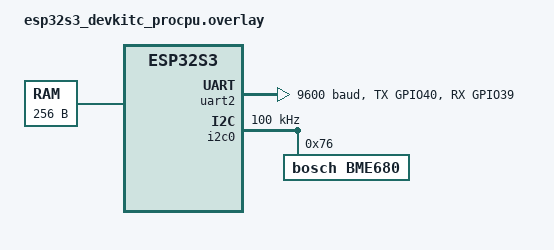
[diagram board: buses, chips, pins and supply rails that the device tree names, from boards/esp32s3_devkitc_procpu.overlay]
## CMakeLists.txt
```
cmake_minimum_required(VERSION 3.20.0)

find_package(Python3 COMPONENTS Interpreter REQUIRED)

# Generate src/autogen-code/settings_lorawan.{c,h,_list.h} from
# config/settings_lorawan.yaml at every configure -- see
# scripts/README.md. Never edit src/autogen-code/* by hand; edit the
# YAML instead and rebuild (builds are pristine by convention, see
# build.sh's -p always, so this reliably reruns).
#
# Deliberately NOT using the README's --aggregate pass or compiling
# rpc_settings_lorawan.c: that machinery (RPC dispatch by module name,
# a rpc_helpers.h JSON param parser) is for a multi-module,
# RPC-connected app -- this sample has exactly one settings module and
# no RPC layer, so pulling that in would be unused complexity. The
# generator still writes rpc_settings_lorawan.{c,h} to disk; they're
# simply never added to target_sources() below.
execute_process(
    COMMAND ${Python3_EXECUTABLE} ${CMAKE_CURRENT_SOURCE_DIR}/scripts/gen_settings_module.py
            --yaml ${CMAKE_CURRENT_SOURCE_DIR}/config/settings_lorawan.yaml
            --kconfig-dir ${CMAKE_CURRENT_SOURCE_DIR}/kconfig
            --force
    RESULT_VARIABLE gen_res
)
if(NOT gen_res EQUAL 0)
    message(FATAL_ERROR "Failed to generate settings_lorawan")
endif()

find_package(Zephyr REQUIRED HINTS $ENV{ZEPHYR_BASE})
project(lora_e5_device_node)

target_include_directories(app PRIVATE src/autogen-code)

target_sources(app PRIVATE
    src/main.c
    src/autogen-code/settings_lorawan.c
)
```

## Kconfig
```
# Copyright (c) 2026
# SPDX-License-Identifier: Apache-2.0

mainmenu "LoRa-E5 device_node sample"

config DEVICE_NODE_WAKEUP_TIME_SEC
	int "Deep sleep interval between wake/join/send cycles (seconds)"
	default 60
	help
	  Each wake reboots into main(), runs the init/config/join/send
	  sequence (lora_e5_resume_sync(), see docs/Device_State_Machine.md's
	  "Architecture" section), then re-arms an RTC timer for this many
	  seconds and powers off again.

# Generated by scripts/gen_settings_module.py from
# config/settings_lorawan.yaml (see CMakeLists.txt) -- defines
# NVS_SETTINGS_LORAWAN_SHELL, the per-module shell-command toggle.
rsource "kconfig/Kconfig.settings_lorawan"

source "Kconfig.zephyr"
```

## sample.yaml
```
sample:
  name: LoRa-E5 duty-cycled device node sample
  description: >
    Wake from ESP32 deep sleep on a timer, join, send a test uplink through
    the full lora_e5 library stack, then re-arm the timer and power off.
    See docs/Device_State_Machine.md for the architecture this implements.
tests:
  sample.lora_e5.device_node:
    # Requires real LoRa-E5-HF hardware wired to UART2 and OTAA
    # credentials filled in (src/main.c) -- build-only in CI/twister.
    build_only: true
    platform_allow: esp32s3_devkitc/esp32s3/procpu
    tags: lora_e5
```

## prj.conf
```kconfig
CONFIG_LORA_E5=y
CONFIG_SERIAL=y
CONFIG_UART_INTERRUPT_DRIVEN=y
CONFIG_GPIO=y
CONFIG_LOG=y

# Deep sleep -- see docs/Device_State_Machine.md's "Architecture" section
# and external/zephyr/samples/boards/espressif/deep_sleep, which this
# sample's sleep/wake/retained-mem handling is modeled on.
CONFIG_PM=y
CONFIG_PM_DEVICE=y
CONFIG_POWEROFF=y
CONFIG_RETAINED_MEM=y

# Workaround: this Zephyr tree's soc/espressif/common/power.c (built
# whenever CONFIG_PM=y) does LOG_MODULE_DECLARE(soc, ...) but no
# espressif SoC file provides the matching LOG_MODULE_REGISTER(soc,
# ...) -- with CONFIG_LOG=y (needed for our own and lora_e5's logging)
# this is an undefined-reference link failure (`log_const_soc`),
# reproduced even on the unmodified upstream
# samples/boards/espressif/deep_sleep with CONFIG_LOG=y added. Forcing
# this module's own log level off avoids emitting the dangling
# reference without touching vendored Zephyr/HAL sources.
CONFIG_SOC_LOG_LEVEL_OFF=y

# NVS-backed persistent settings for OTAA/ABP credentials + region
# (config/settings_lorawan.yaml, generated by scripts/gen_settings_module.py
# -- see scripts/README.md). Uses esp32s3_devkitc's existing "storage"
# devicetree partition automatically (Zephyr's settings_nvs backend
# falls back to a partition literally labeled storage_partition when no
# zephyr,settings-partition chosen node is set -- confirmed present in
# espressif/partitions_0x0_amp_4M.dtsi, no board overlay change needed).
# CONFIG_FLASH=y and CONFIG_FLASH_MAP=y are required too, undocumented
# by the trio above but confirmed by an actual build: CONFIG_NVS
# depends on FLASH + FLASH_PAGE_LAYOUT, and CONFIG_SETTINGS_NVS
# separately depends on FLASH_MAP -- none of which any other symbol
# here pulls in on its own. Without both, Kconfig silently drops the
# NVS backend choice back to SETTINGS_NONE (a dependency warning, not
# a hard build error) and settings_load()/settings_save_one() end up
# with nothing actually persisting.
CONFIG_FLASH=y
CONFIG_FLASH_MAP=y
CONFIG_NVS=y
CONFIG_SETTINGS=y
CONFIG_SETTINGS_NVS=y

# Confirmed needed on real hardware: settings_subsys_init() failed with
# -EDEADLK ("all sectors closed, this is not a nvs fs or irreparably
# corrupted", subsys/kvss/nvs/nvs.c) on this board's first-ever use of
# the "storage" partition -- its flash contents predate this sample and
# aren't a blank/erased NVS filesystem. This is Zephyr's own sanctioned
# self-heal for exactly that case (auto-erases and creates a fresh NVS
# instead of failing) rather than a one-off manual flash-erase
# workaround, so it also protects any future device whose flash isn't
# blank at first flash.
CONFIG_NVS_INIT_BAD_MEMORY_REGION=y

# Onboard WS2812 RGB status LED (modules/status_led) -- GPIO38 via SPI3,
# see boards/status_led_rgb.overlay (passed as an EXTRA_DTC_OVERLAY_FILE
# by build.sh) and status_led's own README for the backend/devicetree
# contract.
CONFIG_STATUS_LED=y
CONFIG_STATUS_LED_BACKEND_WS2812=y

# BME680 environmental sensor (temp/pressure/humidity/gas resistance),
# I2C0 -- see boards/esp32s3_devkitc_procpu.overlay for wiring/address
# notes. CONFIG_BME680 would auto-enable from the devicetree node alone
# (its Kconfig is `default y` + `depends on DT_HAS_BOSCH_BME680_ENABLED`,
# which also auto-selects CONFIG_I2C) -- set explicitly anyway, same
# reasoning as the NVS symbols above: this project has already hit
# silent Kconfig auto-selection surprises once this session
# (CONFIG_FLASH/CONFIG_FLASH_MAP), not worth relying on implicit
# behavior a second time.
CONFIG_I2C=y
CONFIG_SENSOR=y
CONFIG_BME680=y
```

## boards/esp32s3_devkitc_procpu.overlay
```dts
/*
 * Enables &uart2 for the LoRa-E5-HF, wired TX=GPIO40/RX=GPIO39 -- same
 * wiring and rationale as samples/join's overlay (see that file's doc
 * comment for the DMA/Async-API-vs-Interrupt-Driven history). Kept in
 * sync manually since sample overlays aren't shared between samples.
 *
 * Also carves out a small retained-memory region from rtc_slow_ram so a
 * boot/wake counter can survive ESP32 deep sleep -- copied from
 * external/zephyr/samples/boards/espressif/deep_sleep's own
 * esp32s3_devkitc_procpu.overlay (that sample demonstrates exactly this
 * board + CONFIG_RETAINED_MEM combination). See
 * docs/Device_State_Machine.md's "Architecture" section point 5 for why
 * this specific base address/size is safe on this SoC.
 */

#include <zephyr/dt-bindings/i2c/i2c.h>

&uart2 {
	status = "okay";
	current-speed = <9600>;
	pinctrl-0 = <&uart2_default>;
	pinctrl-names = "default";
};

&pinctrl {
	uart2_default: uart2_default {
		group1 {
			pinmux = <UART2_TX_GPIO40>;
			output-high;
		};

		group2 {
			pinmux = <UART2_RX_GPIO39>;
			bias-pull-up;
		};
	};
};

/ {
	aliases {
		retainedmemdevice = &retainedmem0;
	};

	memory@50001f00 {
		compatible = "zephyr,memory-region", "mmio-sram";
		reg = <0x50001f00 0x100>;
		zephyr,memory-region = "RTC_SLOW_RAM_RETAINED_MEM";
		status = "okay";

		retainedmem0: retainedmem {
			compatible = "zephyr,retained-ram";
			status = "okay";
		};
	};
};

&rtc_slow_ram {
	/* Shrink rtc_slow_ram size to avoid overlap with retained memory
	 * region: 8KB - 256 = 0x1f00 (same carve-out as the reference
	 * deep_sleep sample).
	 */
	reg = <0x50000000 0x1f00>;
};

/*
 * BME680 environmental sensor (temp/pressure/humidity/gas), I2C0 via the
 * board's own default i2c0_default pinctrl (GPIO1=SDA, GPIO2=SCL,
 * esp32s3_devkitc-pinctrl.dtsi -- not redefined here, already exists at
 * the board level). [Guessing, not yet verified against real hardware
 * -- no BME680 was connected during this project's other hardware
 * bring-up sessions]: I2C address 0x76 assumes the sensor's SDO pin is
 * tied low (grounded) -- the common default for breakout boards that
 * don't break SDO out separately. If your board pulls SDO high instead,
 * change reg below to 0x77. See docs/VERIFICATION_NEEDED.md.
 */
&i2c0 {
	status = "okay";
	clock-frequency = <I2C_BITRATE_STANDARD>;
	pinctrl-0 = <&i2c0_default>;
	pinctrl-names = "default";

	bme680: bme680@76 {
		compatible = "bosch,bme680";
		reg = <0x76>;
	};
};
```

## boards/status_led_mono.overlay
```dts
/*
 * Monochrome status LED wiring (LTE build): the onboard LED at GPIO38
 * driven as a plain on/off GPIO via CONFIG_STATUS_LED_BACKEND_MONO_GPIO.
 *
 * Same physical pad as boards/status_led_rgb.overlay's WS2812 wiring --
 * these two overlays are mutually exclusive per build variant, never
 * combined in the same DTC_OVERLAY_FILE list.
 */

/ {
	aliases {
		mono-led = &status_mono_led;
	};

	status_led_mono {
		compatible = "gpio-leds";

		status_mono_led: led_0 {
			/* GPIO 38 = gpio1 pin 6 (38 - 32 = 6) */
			gpios = <&gpio1 6 GPIO_ACTIVE_HIGH>;
			label = "Status LED (mono)";
		};
	};
};
```

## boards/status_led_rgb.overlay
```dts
/*
 * RGB status LED wiring (WiFi build): the onboard WS2812 addressable RGB
 * LED at GPIO38, driven over SPI3 (MOSI-only) via
 * CONFIG_STATUS_LED_BACKEND_WS2812.
 *
 * Same physical pad as boards/status_led_mono.overlay's plain-GPIO wiring --
 * these two overlays are mutually exclusive per build variant, never
 * combined in the same DTC_OVERLAY_FILE list.
 */

#include <zephyr/dt-bindings/led/led.h>
#include <zephyr/dt-bindings/led/worldsemi_ws2812c.h>

/ {
	aliases {
		led-strip = &status_rgb_led;
	};
};

&pinctrl {
	spim3_status_led: spim3_status_led {
		group1 {
			/* GPIO38 = gpio1 pin 6: the onboard WS2812 RGB LED data line. */
			pinmux = <SPIM3_MOSI_GPIO38>;
			output-low;
		};
	};
};

&spi3 {
	#address-cells = <1>;
	#size-cells = <0>;
	status = "okay";
	line-idle-low;
	pinctrl-0 = <&spim3_status_led>;
	pinctrl-names = "default";

	status_rgb_led: ws2812@0 {
		compatible = "worldsemi,ws2812-spi";
		reg = <0>;
		spi-max-frequency = <WS2812C_SPI_FREQ>;

		chain-length = <1>;
		/*
		 * RGB wire order (not the more common GRB) -- verified against
		 * observed hardware: GRB order rendered cyan as magenta (R/G
		 * swapped) on this board's WS2812.
		 */
		color-mapping = <LED_COLOR_ID_RED>,
				<LED_COLOR_ID_GREEN>,
				<LED_COLOR_ID_BLUE>;
		spi-one-frame = <WS2812C_ONE_FRAME>;
		spi-zero-frame = <WS2812C_ZERO_FRAME>;
	};
};
```

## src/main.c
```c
/**
 * @file samples/device_node/src/main.c
 * @brief Duty-cycled sensor-node pattern: wake (timer), join, send, sleep,
 * repeat -- through the full lora_e5 library stack against a real
 * LoRa-E5-HF module, wired to esp32s3_devkitc's UART2
 * (boards/esp32s3_devkitc_procpu.overlay).
 *
 * "Deep Sleep" here is real ESP32 MCU deep sleep (sys_poweroff()), not
 * lora_e5_sleep() -- waking is a full reboot back into main(), so this is
 * deliberately a linear per-wake sequence, not a persistent event loop.
 * See docs/Device_State_Machine.md's "Architecture" section for the full
 * rationale. Uses lora_e5_resume_sync(), not start_sync()+join_sync():
 * this board's LoRa-E5 stays continuously powered across the ESP32's
 * deep sleep, so most wakes reach JOINED in tens of milliseconds via
 * the modem's own retained session instead of a full ~8s
 * RESET+CONFIG+JOIN sequence -- see docs/VERIFICATION_NEEDED.md's
 * "Resolved 2026-07-11" section for how this was confirmed and
 * lora_e5.h's lora_e5_resume_sync() doc comment for the API contract.
 *
 * OTAA credentials + region are NVS-backed (config/settings_lorawan.yaml,
 * scripts/gen_settings_module.py -- see scripts/README.md) instead of
 * compile-time constants: DEFAULT_OTAA_CFG below seeds the settings
 * store's in-RAM defaults on first boot (before settings_load() runs;
 * a saved NVS record for a given key overrides its default, an absent
 * one leaves the seeded default in place -- see load_provisioning()).
 * Only credentials/region/join_mode_otaa are wired here -- sub_band/
 * adr_enabled/data_rate/tx_power/confirmed_uplink/uplink_interval_sec
 * are commented out in the YAML because lora_e5.h has no public setter
 * for any of them yet (CLAUDE.md's "Known gaps" #2).
 *
 * Status is shown on the onboard WS2812 RGB LED (modules/status_led,
 * GPIO38/SPI3, boards/status_led_rgb.overlay) using a minimal, honest
 * subset of that library's network/MQTT-flavored state vocabulary --
 * device_node has no MQTT/OTA/provisioning, so only BOOTING /
 * CONNECTING_NETWORK / NETWORK_CONNECTED / HW_FAILURE / FATAL_ERROR are
 * used, not the full table. IMPORTANT: status_led_stop() (synchronous)
 * is called right before sys_poweroff(), not status_led_set_state() --
 * a WS2812 latches its last color on pure power and needs no refresh,
 * and GPIO38/SPI3 gets isolated (not actively driven low) during ESP32
 * deep sleep, so skipping the synchronous off would leave the LED lit
 * at whatever color for the entire sleep interval, silently defeating
 * the point of a duty-cycled battery node.
 *
 * The uplink payload carries real data: a BME680 (I2C0, GPIO1=SDA/
 * GPIO2=SCL, boards/esp32s3_devkitc_procpu.overlay) is read for
 * temperature/pressure/humidity/gas resistance right before sending.
 * [Guessing, unverified against real hardware -- no BME680 was
 * connected during this project's other bring-up sessions]: the
 * overlay assumes I2C address 0x76 (SDO grounded); see that file's
 * comment and docs/VERIFICATION_NEEDED.md if your board wires SDO
 * high instead. The sensor read degrading gracefully (payload falls
 * back to boot_count-only, 4 bytes, if the read fails) is deliberate,
 * not an oversight -- this sample's core LoRaWAN mission should not
 * block on a sensor that may not physically be present.
 */

#include <errno.h>
#include <stdlib.h>
#include <string.h>

#include <zephyr/kernel.h>
#include <zephyr/device.h>
#include <zephyr/logging/log.h>
#include <zephyr/logging/log_ctrl.h>
#include <zephyr/drivers/retained_mem.h>
#include <zephyr/drivers/sensor.h>
#include <zephyr/settings/settings.h>
#include <zephyr/sys/poweroff.h>
#include <esp_sleep.h>

#include <lora_e5/lora_e5.h>
#include <status_led/status_led.h>

#include "settings_lorawan.h"

LOG_MODULE_REGISTER(lora_e5_device_node, LOG_LEVEL_INF);

/**
 * Confirmed-working OTAA credentials (real join + real uplink observed
 * in ChirpStack, same as samples/join) -- used ONLY to seed the NVS
 * settings store's defaults on a device's very first boot (empty
 * flash). Once settings_save_one() has written a real record (e.g. via
 * the "lorawan dev_eui <hex>" shell command, CONFIG_NVS_SETTINGS_LORAWAN_SHELL=y),
 * that record wins on every subsequent boot -- see load_provisioning().
 * Replace these three with your own device's values before flashing a
 * fresh device, same as samples/join.
 */
static const struct lora_e5_otaa_config default_otaa_cfg = {
	.dev_eui = { .bytes = { 0x26, 0xC5, 0x18, 0xF8, 0xEF, 0x84, 0x0E, 0x5D } },
	.app_eui = { .bytes = { 0x78, 0x36, 0xFC, 0xAF, 0xA7, 0x3B, 0x3E, 0xD3 } },
	.app_key = { .bytes = { 0x5B, 0xD1, 0x95, 0x9C, 0x42, 0x57, 0xCD, 0x92, 0x15, 0x30, 0x53, 0xFD, 0x66, 0xDC, 0xF9, 0x59 } },
};
#define DEFAULT_REGION_NAME "IN865"

/* Retained-memory boot/wake counter -- survives deep sleep (see
 * read_and_bump_boot_count()), does not gate any join/config decision
 * (docs/Device_State_Machine.md point 6), and is always the first 4
 * bytes of this sample's uplink payload (see build_uplink_payload())
 * so a real device event in ChirpStack has an actual, verifiable value
 * in it instead of a fixed placeholder -- each successful uplink's
 * payload should read one higher than the last, sensor data or not.
 */
#define RETAINED_MEM_MAGIC 0x4C453544u /* "LE5D" */

/* ------------------------------------------------------------------- */
/* BME680 environmental sensor                                          */
/* ------------------------------------------------------------------- */

/** @brief Fixed-point environmental reading, ready to append to the
 *  uplink payload. `valid` is false (all other fields zero) if the
 *  sensor isn't present/ready or the read failed -- see
 *  read_environment(). */
struct env_reading {
	bool valid;
	int16_t temp_c_x100;    /* degrees C * 100, e.g. 2345 = 23.45C */
	uint16_t press_kpa_x10; /* kPa * 10, e.g. 1013 = 101.3 kPa */
	uint16_t humidity_x100; /* %RH * 100, e.g. 4567 = 45.67% */
	uint32_t gas_res_ohm;   /* ohms, driver's native resolution */
};

/** @brief Converts a Zephyr struct sensor_value (val1 + val2/1e6) to a
 *  fixed-point integer scaled by `scale`, e.g. scale=100 on 23.45
 *  (val1=23, val2=450000) yields 2345. Integer-only (no float/double
 *  pulled into the link) via an int64_t intermediate to avoid overflow
 *  across the multiply. */
static int32_t sensor_value_scaled(const struct sensor_value *v, int32_t scale)
{
	int64_t scaled = (int64_t)v->val1 * scale +
			  ((int64_t)v->val2 * scale) / 1000000;

	return (int32_t)scaled;
}

/** @brief Reads the BME680 (temp/press/humidity/gas resistance),
 *  returning a zeroed, `valid=false` reading (not an error code) on
 *  any failure -- see this file's doc comment for why a missing/failed
 *  sensor degrades the uplink payload rather than blocking it. */
static struct env_reading read_environment(void)
{
	struct env_reading env = { 0 };
	const struct device *dev = DEVICE_DT_GET(DT_NODELABEL(bme680));
	struct sensor_value temp, press, humidity, gas_res;

	if (!device_is_ready(dev)) {
		LOG_WRN("BME680 not ready -- uplink will omit sensor data");
		return env;
	}

	if (sensor_sample_fetch(dev) != 0) {
		LOG_WRN("BME680 sensor_sample_fetch failed -- uplink will omit sensor data");
		return env;
	}

	if (sensor_channel_get(dev, SENSOR_CHAN_AMBIENT_TEMP, &temp) != 0 ||
	    sensor_channel_get(dev, SENSOR_CHAN_PRESS, &press) != 0 ||
	    sensor_channel_get(dev, SENSOR_CHAN_HUMIDITY, &humidity) != 0 ||
	    sensor_channel_get(dev, SENSOR_CHAN_GAS_RES, &gas_res) != 0) {
		LOG_WRN("BME680 sensor_channel_get failed -- uplink will omit sensor data");
		return env;
	}

	env.valid = true;
	env.temp_c_x100 = (int16_t)sensor_value_scaled(&temp, 100);
	env.press_kpa_x10 = (uint16_t)sensor_value_scaled(&press, 10);
	env.humidity_x100 = (uint16_t)sensor_value_scaled(&humidity, 100);
	env.gas_res_ohm = (uint32_t)gas_res.val1;

	LOG_INF("BME680: temp=%d.%02dC press=%d.%01dkPa humidity=%d.%02d%% gas_res=%uohm",
		env.temp_c_x100 / 100, abs(env.temp_c_x100 % 100), env.press_kpa_x10 / 10,
		env.press_kpa_x10 % 10, env.humidity_x100 / 100, env.humidity_x100 % 100,
		(unsigned)env.gas_res_ohm);

	return env;
}

/** @brief Builds the uplink payload into `out` (must be at least
 *  UPLINK_PAYLOAD_MAX_LEN bytes) and returns the number of bytes
 *  written: boot_count is always the first 4 bytes (big-endian); if
 *  `env->valid`, 10 more bytes (temp/press/humidity/gas_res, all
 *  big-endian) are appended, otherwise the payload is just the 4
 *  bytes. */
#define UPLINK_PAYLOAD_MAX_LEN 14

static size_t build_uplink_payload(uint32_t boot_count, const struct env_reading *env,
				    uint8_t out[UPLINK_PAYLOAD_MAX_LEN])
{
	out[0] = (uint8_t)(boot_count >> 24);
	out[1] = (uint8_t)(boot_count >> 16);
	out[2] = (uint8_t)(boot_count >> 8);
	out[3] = (uint8_t)(boot_count);

	if (!env->valid) {
		return 4;
	}

	out[4] = (uint8_t)((uint16_t)env->temp_c_x100 >> 8);
	out[5] = (uint8_t)((uint16_t)env->temp_c_x100);
	out[6] = (uint8_t)(env->press_kpa_x10 >> 8);
	out[7] = (uint8_t)(env->press_kpa_x10);
	out[8] = (uint8_t)(env->humidity_x100 >> 8);
	out[9] = (uint8_t)(env->humidity_x100);
	out[10] = (uint8_t)(env->gas_res_ohm >> 24);
	out[11] = (uint8_t)(env->gas_res_ohm >> 16);
	out[12] = (uint8_t)(env->gas_res_ohm >> 8);
	out[13] = (uint8_t)(env->gas_res_ohm);

	return UPLINK_PAYLOAD_MAX_LEN;
}

static void event_cb(const struct lora_e5_app_event *event, void *user_data)
{
	ARG_UNUSED(user_data);

	switch (event->type) {
	case LORA_E5_APP_EVT_JOIN_SUCCESS:
		LOG_INF("JOIN_SUCCESS devaddr=%02X%02X%02X%02X netid=%06X",
			event->join.dev_addr.bytes[0], event->join.dev_addr.bytes[1],
			event->join.dev_addr.bytes[2], event->join.dev_addr.bytes[3],
			event->join.net_id);
		break;
	case LORA_E5_APP_EVT_JOIN_FAILED:
		LOG_ERR("JOIN_FAILED outcome=%d", (int)event->join.outcome);
		break;
	case LORA_E5_APP_EVT_TX_SUCCESS:
		LOG_INF("TX_SUCCESS confirmed=%d", event->tx.confirmed);
		break;
	case LORA_E5_APP_EVT_TX_FAILED:
		LOG_ERR("TX_FAILED reason=%d", (int)event->tx.fail_reason);
		break;
	case LORA_E5_APP_EVT_DOWNLINK_RECEIVED:
		LOG_INF("DOWNLINK port=%u len=%u rssi=%d snr=%d", event->downlink.port,
			(unsigned)event->downlink.len, event->downlink.rssi_dbm,
			event->downlink.snr_db);
		break;
	case LORA_E5_APP_EVT_SLEEP_ENTERED:
		LOG_INF("SLEEP_ENTERED");
		break;
	case LORA_E5_APP_EVT_WAKE_COMPLETE:
		LOG_INF("WAKE_COMPLETE");
		break;
	case LORA_E5_APP_EVT_STATE_CHANGED:
		LOG_INF("STATE_CHANGED -> %d", (int)event->state_changed);
		break;
	case LORA_E5_APP_EVT_ERROR:
		LOG_ERR("ERROR errno=%d", event->error_errno);
		break;
	}
}

static esp_sleep_wakeup_cause_t get_wakeup_cause(void)
{
	uint32_t causes = esp_sleep_get_wakeup_causes();

	if (causes == 0) {
		return ESP_SLEEP_WAKEUP_UNDEFINED;
	}
	return (esp_sleep_wakeup_cause_t)__builtin_ctz(causes);
}

/** @brief Diagnostic wake counter, persisted across deep sleep. Resets to
 *  1 on a non-timer wake (power-on / reset), since that means the SoC
 *  didn't come from a sleep cycle this counter was tracking. */
static uint32_t read_and_bump_boot_count(esp_sleep_wakeup_cause_t cause)
{
	const struct device *dev = DEVICE_DT_GET(DT_ALIAS(retainedmemdevice));
	uint32_t magic = 0;
	uint32_t count = 0;

	if (!device_is_ready(dev)) {
		LOG_WRN("retained_mem device not ready -- boot count unavailable");
		return 0;
	}

	if (cause == ESP_SLEEP_WAKEUP_TIMER) {
		retained_mem_read(dev, 0, (uint8_t *)&magic, sizeof(magic));
		if (magic == RETAINED_MEM_MAGIC) {
			retained_mem_read(dev, sizeof(magic), (uint8_t *)&count, sizeof(count));
		}
	}

	count++;
	magic = RETAINED_MEM_MAGIC;
	retained_mem_write(dev, 0, (uint8_t *)&magic, sizeof(magic));
	retained_mem_write(dev, sizeof(magic), (uint8_t *)&count, sizeof(count));

	return count;
}

/* ------------------------------------------------------------------- */
/* NVS-backed provisioning (config/settings_lorawan.yaml)                */
/* ------------------------------------------------------------------- */

static int hex_nibble(char c)
{
	if (c >= '0' && c <= '9') {
		return c - '0';
	}
	if (c >= 'A' && c <= 'F') {
		return c - 'A' + 10;
	}
	if (c >= 'a' && c <= 'f') {
		return c - 'a' + 10;
	}
	return -1;
}

static void bytes_to_hex(const uint8_t *bytes, size_t len, char *out, size_t out_len)
{
	static const char digits[] = "0123456789ABCDEF";
	size_t n = MIN(len, (out_len - 1) / 2);

	for (size_t i = 0; i < n; i++) {
		out[i * 2] = digits[bytes[i] >> 4];
		out[i * 2 + 1] = digits[bytes[i] & 0x0F];
	}
	out[n * 2] = '\0';
}

static int hex_to_bytes(const char *hex, uint8_t *out, size_t out_len)
{
	if (hex == NULL || strlen(hex) != out_len * 2) {
		return -EINVAL;
	}
	for (size_t i = 0; i < out_len; i++) {
		int hi = hex_nibble(hex[i * 2]);
		int lo = hex_nibble(hex[i * 2 + 1]);

		if (hi < 0 || lo < 0) {
			return -EINVAL;
		}
		out[i] = (uint8_t)((hi << 4) | lo);
	}
	return 0;
}

static int parse_region(const char *name, enum lora_e5_region *out)
{
	static const struct {
		const char *name;
		enum lora_e5_region region;
	} table[] = {
		{ "EU868", LORA_E5_REGION_EU868 },
		{ "US915", LORA_E5_REGION_US915 },
		{ "US915HYBRID", LORA_E5_REGION_US915HYBRID },
		{ "CN779", LORA_E5_REGION_CN779 },
		{ "EU433", LORA_E5_REGION_EU433 },
		{ "AU915", LORA_E5_REGION_AU915 },
		{ "AU915OLD", LORA_E5_REGION_AU915OLD },
		{ "CN470", LORA_E5_REGION_CN470 },
		{ "AS923", LORA_E5_REGION_AS923 },
		{ "KR920", LORA_E5_REGION_KR920 },
		{ "IN865", LORA_E5_REGION_IN865 },
		{ "RU864", LORA_E5_REGION_RU864 },
	};

	if (name == NULL) {
		return -EINVAL;
	}
	for (size_t i = 0; i < ARRAY_SIZE(table); i++) {
		if (strcmp(name, table[i].name) == 0) {
			*out = table[i].region;
			return 0;
		}
	}
	return -EINVAL;
}

/** @brief Seeds lorawan_config's in-RAM defaults from default_otaa_cfg
 *  BEFORE settings_load() runs. A key with a saved NVS record has
 *  settings_load() overwrite this default; a key with no record (a
 *  device's first boot, or one that was factory-reset) keeps it --
 *  same pattern scripts/README.md documents for the template's
 *  "shared" module. Does not itself touch NVS (no settings_save_one()
 *  call) -- these are just this boot's in-RAM starting values.
 */
static void seed_default_provisioning(void)
{
	char hex[33];

	bytes_to_hex(default_otaa_cfg.dev_eui.bytes, sizeof(default_otaa_cfg.dev_eui.bytes),
		     hex, sizeof(hex));
	strncpy(lorawan_config.dev_eui, hex, sizeof(lorawan_config.dev_eui) - 1);

	bytes_to_hex(default_otaa_cfg.app_eui.bytes, sizeof(default_otaa_cfg.app_eui.bytes),
		     hex, sizeof(hex));
	strncpy(lorawan_config.join_eui, hex, sizeof(lorawan_config.join_eui) - 1);

	bytes_to_hex(default_otaa_cfg.app_key.bytes, sizeof(default_otaa_cfg.app_key.bytes),
		     hex, sizeof(hex));
	strncpy(lorawan_config.app_key, hex, sizeof(lorawan_config.app_key) - 1);

	strncpy(lorawan_config.region, DEFAULT_REGION_NAME, sizeof(lorawan_config.region) - 1);

	/* Not yet read/branched on anywhere -- device_node is OTAA-only
	 * today. Seeded so "lorawan show" reports a sensible value if the
	 * shell is enabled, and so it's ready to wire up if ABP support is
	 * ever added here.
	 */
	lorawan_config.join_mode_otaa = true;
}

/** @brief Brings up the NVS settings store and resolves this boot's
 *  OTAA credentials + region from it (falling back to
 *  default_otaa_cfg/DEFAULT_REGION_NAME wherever no NVS record exists
 *  yet -- see seed_default_provisioning()). Must run before
 *  lora_e5_set_otaa()/set_region(). */
static int load_provisioning(struct lora_e5_otaa_config *out_otaa, enum lora_e5_region *out_region)
{
	int rc;

	rc = settings_subsys_init();
	if (rc != 0) {
		return rc;
	}

	settings_lorawan_init();
	seed_default_provisioning();
	settings_load();

	rc = hex_to_bytes(get_nvs_lorawan_deveui_t_dev_eui(), out_otaa->dev_eui.bytes,
			   sizeof(out_otaa->dev_eui.bytes));
	if (rc != 0) {
		LOG_ERR("Invalid dev_eui in NVS settings (%d)", rc);
		return rc;
	}

	rc = hex_to_bytes(get_nvs_lorawan_joineui_t_join_eui(), out_otaa->app_eui.bytes,
			   sizeof(out_otaa->app_eui.bytes));
	if (rc != 0) {
		LOG_ERR("Invalid join_eui in NVS settings (%d)", rc);
		return rc;
	}

	rc = hex_to_bytes(get_nvs_lorawan_appkey_t_app_key(), out_otaa->app_key.bytes,
			   sizeof(out_otaa->app_key.bytes));
	if (rc != 0) {
		LOG_ERR("Invalid app_key in NVS settings (%d)", rc);
		return rc;
	}

	rc = parse_region(get_nvs_lorawan_region_t_region(), out_region);
	if (rc != 0) {
		LOG_ERR("Invalid region '%s' in NVS settings (%d)",
			get_nvs_lorawan_region_t_region(), rc);
		return rc;
	}

	return 0;
}

static void go_to_sleep(void)
{
	const int wakeup_time_sec = CONFIG_DEVICE_NODE_WAKEUP_TIME_SEC;

	LOG_INF("Arming %ds timer wakeup, powering off", wakeup_time_sec);

	/* sys_poweroff() is called directly (not through the PM subsystem's
	 * own idle-triggered suspend), so the wakeup source must be armed by
	 * the application first -- same requirement documented in
	 * external/zephyr/samples/boards/espressif/deep_sleep.
	 */
	esp_sleep_enable_timer_wakeup((uint64_t)wakeup_time_sec * 1000000);

	/* Without this, sys_poweroff() cuts power before Zephyr's deferred
	 * logging thread drains its queue -- confirmed on real hardware:
	 * the TX_SUCCESS/TX_FAILED event log and the "Send confirmed" line
	 * below were silently lost on every cycle without it. LOG_PANIC()
	 * flushes pending log messages and switches logging synchronous for
	 * whatever's left.
	 */
	LOG_PANIC();
	sys_poweroff();
}

int main(void)
{
	esp_sleep_wakeup_cause_t cause = get_wakeup_cause();
	uint32_t boot_count = read_and_bump_boot_count(cause);

	LOG_INF("Wake cause=%d boot_count=%u", (int)cause, boot_count);

	/* LED failure is not fatal to the LoRaWAN mission -- if it doesn't
	 * come up, log it once and skip every other status_led_*() call
	 * this boot rather than risk cascading a display-only failure into
	 * treating the whole wake as failed.
	 */
	bool led_ok = (status_led_init() == 0);

	if (!led_ok) {
		LOG_WRN("status_led_init failed -- continuing without LED status");
	}
	if (led_ok) {
		status_led_set_state(STATUS_LED_BOOTING);
	}

	struct lora_e5_otaa_config loaded_otaa;
	enum lora_e5_region loaded_region;
	int rc;

	rc = load_provisioning(&loaded_otaa, &loaded_region);
	if (rc != 0) {
		LOG_ERR("load_provisioning failed (%d)", rc);
		if (led_ok) {
			status_led_clear_state(STATUS_LED_BOOTING);
			status_led_set_state(STATUS_LED_FATAL_ERROR);
		}
		goto sleep;
	}

	const struct lora_e5_hw_config hw = {
		.uart_dev = DEVICE_DT_GET(DT_NODELABEL(uart2)),
		.reset_gpio = NULL, /* AT+RESET only -- no reset-gpios wired on this board */
	};

	rc = lora_e5_init(&hw);
	if (rc != 0) {
		LOG_ERR("lora_e5_init failed (%d)", rc);
		if (led_ok) {
			status_led_clear_state(STATUS_LED_BOOTING);
			status_led_set_state(STATUS_LED_HW_FAILURE);
		}
		goto sleep;
	}

	lora_e5_register_callback(event_cb, NULL);

	rc = lora_e5_set_otaa(&loaded_otaa);
	if (rc != 0) {
		LOG_ERR("lora_e5_set_otaa failed (%d)", rc);
		if (led_ok) {
			status_led_clear_state(STATUS_LED_BOOTING);
			status_led_set_state(STATUS_LED_FATAL_ERROR);
		}
		goto sleep;
	}

	rc = lora_e5_set_region(loaded_region);
	if (rc != 0) {
		LOG_ERR("lora_e5_set_region failed (%d)", rc);
		if (led_ok) {
			status_led_clear_state(STATUS_LED_BOOTING);
			status_led_set_state(STATUS_LED_FATAL_ERROR);
		}
		goto sleep;
	}

	if (led_ok) {
		status_led_clear_state(STATUS_LED_BOOTING);
		status_led_set_state(STATUS_LED_CONNECTING_NETWORK);
	}

	/* lora_e5_resume_sync(), not start_sync()+join_sync(): this board's
	 * LoRa-E5 stays continuously powered across the ESP32's own deep
	 * sleep (confirmed by the project owner), so the fast path --
	 * probe without AT+RESET, AT+JOIN directly -- reaches JOINED in
	 * tens of milliseconds instead of the ~8s full sequence, on every
	 * wake where the session survived. Safe to always call: if the
	 * module ever did lose power, this transparently falls back to
	 * the exact same full RESET+CONFIG+JOIN sequence start_sync()+
	 * join_sync() always ran -- see docs/VERIFICATION_NEEDED.md's
	 * "Resolved 2026-07-11" section for the measured numbers.
	 */
	rc = lora_e5_resume_sync(K_SECONDS(20));
	if (rc != 0) {
		LOG_ERR("lora_e5_resume_sync failed (%d)", rc);
		if (led_ok) {
			status_led_clear_state(STATUS_LED_CONNECTING_NETWORK);
			status_led_set_state(STATUS_LED_FATAL_ERROR);
		}
		goto sleep;
	}

	if (lora_e5_get_state() != LORA_E5_STATE_JOINED) {
		/* Fast path fell back to the full sequence and landed at
		 * READY (CLAUDE.md decision #2: resume_sync() never
		 * auto-joins on the fallback path either) -- finish the
		 * job exactly as lora_e5_join_sync() always did.
		 */
		rc = lora_e5_join_sync(K_SECONDS(20));
		if (rc != 0) {
			LOG_ERR("lora_e5_join_sync failed (%d)", rc);
			if (led_ok) {
				status_led_clear_state(STATUS_LED_CONNECTING_NETWORK);
				status_led_set_state(STATUS_LED_FATAL_ERROR);
			}
			goto sleep;
		}
	}

	if (led_ok) {
		status_led_clear_state(STATUS_LED_CONNECTING_NETWORK);
		status_led_set_state(STATUS_LED_NETWORK_CONNECTED);
	}

	struct env_reading env = read_environment();
	uint8_t uplink_payload[UPLINK_PAYLOAD_MAX_LEN];
	size_t payload_len = build_uplink_payload(boot_count, &env, uplink_payload);

	rc = lora_e5_send_sync(uplink_payload, payload_len, K_SECONDS(15));
	if (rc != 0) {
		LOG_ERR("lora_e5_send_sync failed (%d)", rc);
		if (led_ok) {
			status_led_clear_state(STATUS_LED_NETWORK_CONNECTED);
			status_led_set_state(STATUS_LED_FATAL_ERROR);
		}
	} else {
		LOG_INF("Send confirmed by the library (boot_count=%u, %u-byte payload, "
			"sensor_data=%d) -- cross-check ChirpStack's device event log to "
			"confirm the frame actually arrived with this same value",
			boot_count, (unsigned)payload_len, (int)env.valid);
	}

sleep:
	/* Synchronous, not status_led_set_state(STATUS_LED_SLEEP) -- see
	 * this file's doc comment for why the async form would risk
	 * leaving the LED lit through the whole sleep interval.
	 */
	if (led_ok) {
		status_led_stop();
	}

	/* Always sleep and retry next cycle rather than idling awake on
	 * failure -- a duty-cycled battery node should never sit at the idle
	 * thread burning power waiting for nothing.
	 */
	go_to_sleep();
	return 0;
}
```
